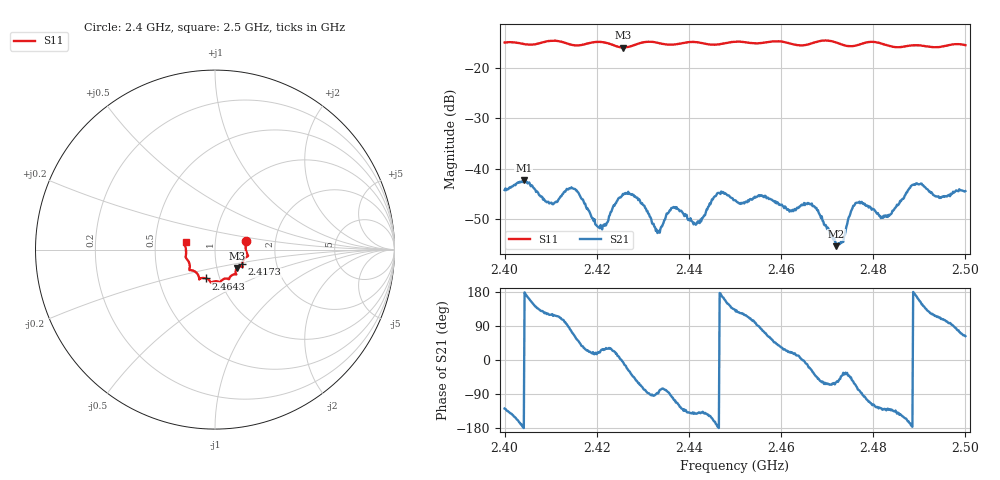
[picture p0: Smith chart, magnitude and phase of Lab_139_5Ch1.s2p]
# Hz S RI R 50
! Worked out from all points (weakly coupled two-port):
!   601 points, 2.4 GHz to 2.5 GHz, reference 50 ohm
!   highest |S21| = -42.23 dB at 2.4042 GHz (marker M1); lowest = -55.4 dB at 2.472 GHz (marker M2)
!   lowest |S11| = -15.9 dB at 2.4257 GHz (marker M3), VSWR 1.38, Z = 62.5 - j13.1 ohm
!   |S11| at or under -10 dB: start of sweep to end of sweep
!   S12 and S22 are empty: the file has one direction only
!   S11 on the Smith chart (normalised r, x): 2.4 GHz: 1.41, +0.14; 2.4173 GHz: 1.34, -0.23; 2.4643 GHz: 0.86, -0.28; 2.5 GHz: 0.72, +0.06
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2.4e9  0.1731 0.0487  -0.00379 -0.00483  0 0  0 0
2.404167e9  0.1719 0.0239  -0.00773 -3.91e-05  0 0  0 0
2.410167e9  0.1841 -0.0339  -0.00225 0.00401  0 0  0 0
2.414e9  0.1664 -0.0474  0.000457 0.00636  0 0  0 0
2.416667e9  0.1526 -0.0745  0.004 0.00307  0 0  0 0
2.417333e9  0.1518 -0.0819  0.00385 0.00229  0 0  0 0
2.420833e9  0.1539 -0.0973  0.00252 0.00113  0 0  0 0
2.425667e9  0.1229 -0.1024  0.0056 -0.000486  0 0  0 0
2.428833e9  0.1151 -0.1304  0.00273 -0.00436  0 0  0 0
2.433333e9  0.1129 -0.1375  7.93e-05 -0.00233  0 0  0 0
2.4365e9  0.0903 -0.1455  -0.000676 -0.00405  0 0  0 0
2.441333e9  0.0767 -0.1649  -0.00219 -0.00178  0 0  0 0
2.4465e9  0.0439 -0.1666  -0.00576 -4.17e-05  0 0  0 0
2.45e9  0.0287 -0.1809  -0.0033 0.00356  0 0  0 0
2.464333e9  -0.05 -0.1607  0.00433 0.000258  0 0  0 0
2.466667e9  -0.076 -0.1592  0.004 -0.00208  0 0  0 0
2.472e9  -0.0884 -0.1563  0.000891 -0.00145  0 0  0 0
2.4765e9  -0.1216 -0.117  0.00135 -0.0044  0 0  0 0
2.483333e9  -0.1404 -0.0901  -0.00231 -0.0026  0 0  0 0
2.489e9  -0.1627 -0.0456  -0.00699 0.000717  0 0  0 0
2.494333e9  -0.1619 0.00227  -0.00196 0.00473  0 0  0 0
2.5e9  -0.1637 0.0427  0.00273 0.00534  0 0  0 0
